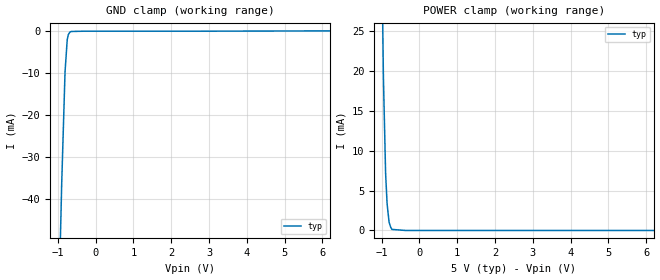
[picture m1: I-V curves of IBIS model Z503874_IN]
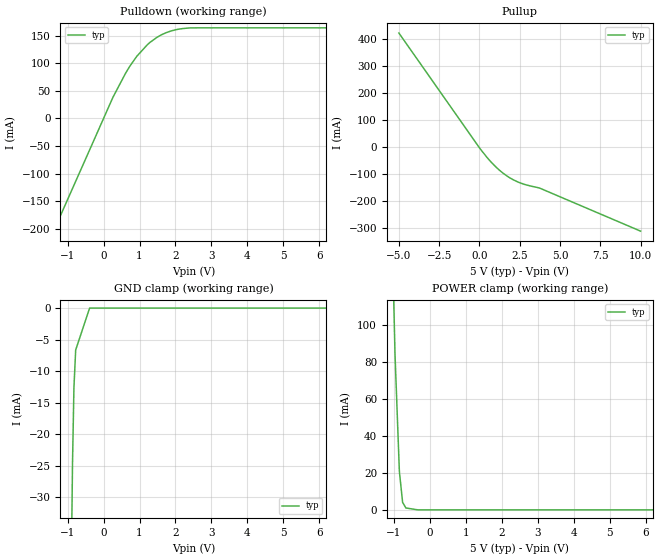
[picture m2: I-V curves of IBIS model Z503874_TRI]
| YOU ARE ONLY AUTHORIZED TO USE THIS SOFTWARE
| ACCORDING TO LICENSOR'S LICENSE RESTRICTIONS.
[IBIS Ver] 3.1
[File Name] mc74act574n.ibs
[File Rev] 2.0
[Source] Measured and created by ICX Technology
[Date] Friday 7/14/00 9:08:02 AM
[Copyright]
| (C) COPYRIGHT 1993-2000
| MENTOR GRAPHICS CORPORATION
| ICX STANDARD LIBRARY, ICX PROJECT MODELING,
| ICX CUSTOM MODELING, ICX VENDOR MODEL
| ALL RIGHTS RESERVED.
| THE FOLLOWING ARE TRADEMARKS OR SERVICE MARKS OF
| MENTOR GRAPHICS CORPORATION:ICX (R), ICX STANDARD
| LIBRARY(R), ICX PROJECT MODELING(R), ICX CUSTOM
| MODELING(R), qualityIBIS(TM), MODELVIEWER(TM),
| AND MODELEDITOR(TM)
| ALL COPIES OF SOFTWARE, INCLUDING BUT NOT LIMITED TO
| ANY MODIFICATIONS, ENHANCEMENTS OR DERIVATIVE WORKS,
| MUST CONTAIN ALL MENTOR GRAPHICS CORPORATION'S
| NOTICES AND LEGENDS, INCLUDING THOSE EMBEDDED IN
| SOFTWARE AND THOSE AFFIXED TO SOFTWARE MEDIUM
| AND CONTAINER, AS RECEIVED FROM MENTOR GRAPHICS
| CORPORATION.
|  ZAP Model Builder 2.7
[Component] MC74ACT574N
[Manufacturer] OnSemiconductor
[Package]
| variable   typ   min   max
R_pkg  .216ohms NA NA
L_pkg  5.76nH NA NA
C_pkg  1.29pF NA NA
[Pin] signal_name  model_name  R_pin  L_pin C_pin
1 _EN Z503874_IN .232 9.76n 1.87p
2 D0 Z503874_IN .224 7.26n 1.58p
3 D1 Z503874_IN .216 5.26n 1.29p
4 D2 Z503874_IN .208 3.76n 1.0p
5 D3 Z503874_IN .2 2.76n .71p
6 D4 Z503874_IN .2 2.76n .71p
7 D5 Z503874_IN .208 3.76n 1.0p
8 D6 Z503874_IN .216 5.26n 1.29p
9 D7 Z503874_IN .224 7.26n 1.58p
10 GND GND .232 9.76n 1.87p
11 CLK Z503874_IN .232 9.76n 1.87p
12 Q7 Z503874_TRI .224 7.26n 1.58p
13 Q6 Z503874_TRI .216 5.26n 1.29p
14 Q5 Z503874_TRI .208 3.76n 1.0p
15 Q4 Z503874_TRI .2 2.76n .71p
16 Q3 Z503874_TRI .2 2.76n .71p
17 Q2 Z503874_TRI .208 3.76n 1.0p
18 Q1 Z503874_TRI .216 5.26n 1.29p
19 Q0 Z503874_TRI .224 7.26n 1.58p
20 VCC POWER .232 9.76n 1.87p
| Models and submodels in the file (2): Z503874_IN (Input), Z503874_TRI (3-state)
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| (C) COPYRIGHT 1993-2000
| MENTOR GRAPHICS CORPORATION
| ICX STANDARD LIBRARY, ICX PROJECT MODELING,
| ICX CUSTOM MODELING, ICX VENDOR MODEL
| ALL RIGHTS RESERVED.
| THE FOLLOWING ARE TRADEMARKS OR SERVICE MARKS OF
| MENTOR GRAPHICS CORPORATION:ICX (R), ICX STANDARD
| LIBRARY(R), ICX PROJECT MODELING(R), ICX CUSTOM
| MODELING(R), qualityIBIS(TM), MODELVIEWER(TM),
| AND MODELEDITOR(TM)
| ALL COPIES OF SOFTWARE, INCLUDING BUT NOT LIMITED TO
| ANY MODIFICATIONS, ENHANCEMENTS OR DERIVATIVE WORKS,
| MUST CONTAIN ALL MENTOR GRAPHICS CORPORATION'S
| NOTICES AND LEGENDS, INCLUDING THOSE EMBEDDED IN
| SOFTWARE AND THOSE AFFIXED TO SOFTWARE MEDIUM
| AND CONTAINER, AS RECEIVED FROM MENTOR GRAPHICS
| CORPORATION.
| Model Application Version 1.89 2/18/99.
[Model] Z503874_IN
Model_type Input
Vinl = 800.0mV
Vinh = 2.000V
C_comp 4.000pF NA NA
| variable typ   min   max
[Voltage Range] 5.000V NA NA
[GND Clamp Reference] 0.000V NA NA
[POWER Clamp Reference] 5.000V NA NA
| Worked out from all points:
|   GND clamp passes 1 mA (typ) near -0.73 V on its own axis
|   POWER clamp passes 1 mA (typ) near -0.80 V on its own axis
[GND Clamp]
-5V       -1.592A    NA         NA
-898.4mV  -36.44mA   NA         NA
-809.7mV  -9.706mA   NA         NA
-751.6mV  -2.006mA   NA         NA
-722.7mV  -822.6uA   NA         NA
-683.7mV  -232.3uA   NA         NA
-645.4mV  -55.38uA   NA         NA
-322.7mV  9.109uA    NA         NA
2.578V    9.109uA    NA         NA
10V       165.3uA    NA         NA
[POWER Clamp]
-5V       2.199A     NA         NA
-1.016V   42.85mA    NA         NA
-952mV    19.28mA    NA         NA
-894mV    7.197mA    NA         NA
-854mV    3.335mA    NA         NA
-801mV    1.032mA    NA         NA
-762mV    441.2uA    NA         NA
-726mV    132.7uA    NA         NA
-363mV    0A         NA         NA
10V       0A         NA         NA
| (C) COPYRIGHT 1993-2000
| MENTOR GRAPHICS CORPORATION
| ICX STANDARD LIBRARY, ICX PROJECT MODELING,
| ICX CUSTOM MODELING, ICX VENDOR MODEL
| ALL RIGHTS RESERVED.
| THE FOLLOWING ARE TRADEMARKS OR SERVICE MARKS OF
| MENTOR GRAPHICS CORPORATION:ICX (R), ICX STANDARD
| LIBRARY(R), ICX PROJECT MODELING(R), ICX CUSTOM
| MODELING(R), qualityIBIS(TM), MODELVIEWER(TM),
| AND MODELEDITOR(TM)
| ALL COPIES OF SOFTWARE, INCLUDING BUT NOT LIMITED TO
| ANY MODIFICATIONS, ENHANCEMENTS OR DERIVATIVE WORKS,
| MUST CONTAIN ALL MENTOR GRAPHICS CORPORATION'S
| NOTICES AND LEGENDS, INCLUDING THOSE EMBEDDED IN
| SOFTWARE AND THOSE AFFIXED TO SOFTWARE MEDIUM
| AND CONTAINER, AS RECEIVED FROM MENTOR GRAPHICS
| CORPORATION.
| Model Application Version 1.89 2/18/99.
[Model] Z503874_TRI
Model_type 3-state
Vref=0.000V
Rref=500.0ohms
Cref=50.00pF
Vmeas=1.500V
C_comp 8.000pF NA NA
| variable typ   min   max
[Voltage Range] 5.000V NA NA
[POWER Clamp Reference] 5.000V NA NA
[Pullup Reference] 5.000V NA NA
[Pulldown Reference] 0.000V NA NA
[GND Clamp Reference] 0.000V NA NA
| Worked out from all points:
|   slope of the pulldown table from 0 to 0.75 V, typ, clamps not added: 7.78 ohm
|   slope of the pullup table from 0 to 0.75 V, typ, clamps not added: 13.7 ohm
[GND Clamp]
-5V       -1.641A    NA         NA
-1.016V   -98.92mA   NA         NA
-864.2mV  -24.61mA   NA         NA
-824.7mV  -12.61mA   NA         NA
-776.1mV  -6.642mA   NA         NA
-388mV    0A         NA         NA
10V       0A         NA         NA
[Pulldown]
-5V       -734mA     NA         NA
263.7mV   38.79mA    NA         NA
615.3mV   82.39mA    NA         NA
923.1mV   112.6mA    NA         NA
1.295V    138.1mA    NA         NA
1.484V    147mA      NA         NA
1.753V    155.8mA    NA         NA
2.088V    161.9mA    NA         NA
2.422V    164.2mA    NA         NA
10V       164.3mA    NA         NA
[Pullup]
-5V       424mA      NA         NA
39mV      -5.772mA   NA         NA
742mV     -56.71mA   NA         NA
1.25V     -86.2mA    NA         NA
1.917V    -115.1mA   NA         NA
2.417V    -130.2mA   NA         NA
3.736V    -152.1mA   NA         NA
10V       -312mA     NA         NA
[POWER Clamp]
-5V       3.375A     NA         NA
-971mV    84.03mA    NA         NA
-850mV    20.83mA    NA         NA
-760mV    4.062mA    NA         NA
-669mV    1.024mA    NA         NA
-334.5mV  0A         NA         NA
10V       0A         NA         NA
[Ramp]
| variable typ min max
dV/dt_r 2.945/593.0p NA NA
dV/dt_f 2.945/721.1p NA NA
R_load = 500.0Ohms
